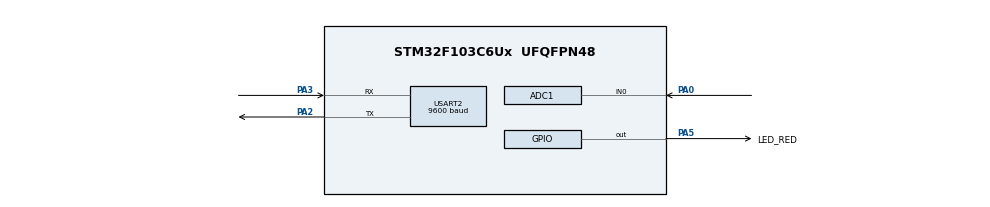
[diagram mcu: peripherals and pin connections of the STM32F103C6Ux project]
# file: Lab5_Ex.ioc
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ADC1.Channel-0\#ChannelRegularConversion=ADC_CHANNEL_0
ADC1.ContinuousConvMode=ENABLE
ADC1.NbrOfConversionFlag=1
ADC1.Rank-0\#ChannelRegularConversion=1
ADC1.SamplingTime-0\#ChannelRegularConversion=ADC_SAMPLETIME_1CYCLE_5
ADC1.master=1
Mcu.Family=STM32F1
Mcu.Name=STM32F103C6Ux
Mcu.Package=UFQFPN48
NVIC.PriorityGroup=NVIC_PRIORITYGROUP_4
NVIC.TIM2_IRQn=true\:0\:0\:false\:false\:true\:true\:true
NVIC.USART2_IRQn=true\:0\:0\:false\:false\:true\:true\:true
PA0-WKUP.Signal=ADCx_IN0
PA2.Mode=Asynchronous
PA2.Signal=USART2_TX
PA3.Mode=Asynchronous
PA3.Signal=USART2_RX
PA5.GPIO_Label=LED_RED
PA5.Signal=GPIO_Output
ProjectManager.HeapSize=0x200
ProjectManager.StackSize=0x400
ProjectManager.TargetToolchain=STM32CubeIDE
RCC.APB1Freq_Value=8000000
RCC.APB2Freq_Value=8000000
SH.ADCx_IN0.0=ADC1_IN0,IN0
TIM2.Period=9
TIM2.Prescaler=7999
USART2.BaudRate=9600
USART2.VirtualMode=VM_ASYNC
VP_SYS_VS_ND.Mode=No_Debug
VP_TIM2_VS_ClockSourceINT.Mode=Internal
board=custom

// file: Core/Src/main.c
/* USER CODE BEGIN Header */
/**
  ******************************************************************************
  * @file           : main.c
  * @brief          : Main program body
  ******************************************************************************
  * @attention
  *
  * <h2><center>&copy; Copyright (c) 2023 STMicroelectronics.
  * All rights reserved.</center></h2>
  *
  * This software component is licensed by ST under BSD 3-Clause license,
  * the "License"; You may not use this file except in compliance with the
  * License. You may obtain a copy of the License at:
  *                        opensource.org/licenses/BSD-3-Clause
  *
  ******************************************************************************
  */
/* USER CODE END Header */
#include "main.h"

/* USER CODE BEGIN Includes */
#include "software_timer.h"
#include "scheduler.h"
/* USER CODE END Includes */

ADC_HandleTypeDef hadc1;

TIM_HandleTypeDef htim2;

UART_HandleTypeDef huart2;

void SystemClock_Config(void);
static void MX_TIM2_Init(void);
static void MX_GPIO_Init(void);
static void MX_USART2_UART_Init(void);
static void MX_ADC1_Init(void);

/* USER CODE BEGIN 0 */
void toggleLed(){
	  	 HAL_GPIO_TogglePin(LED_RED_GPIO_Port, LED_RED_Pin);
 }

//ISR for UART
#define MAX_BUFFER_SIZE 30
uint8_t temp = 0;
uint8_t buffer[MAX_BUFFER_SIZE];
uint8_t index_buffer = 0;
uint8_t buffer_flag = 0;

void HAL_UART_RxCpltCallback(UART_HandleTypeDef *huart) {
    if (huart->Instance == USART2) {
//        HAL_UART_Transmit(&huart2, &temp, 1, 50);
        buffer[index_buffer++] = temp;
        if (index_buffer == MAX_BUFFER_SIZE) {
            index_buffer = 0;
        }
        buffer_flag = 1;
        HAL_UART_Receive_IT(&huart2, &temp, 1);
    }
}

//FSM for command parser
#define PARSER_BEGIN 0
#define PARSER_PARSING 1
uint8_t command_parser_state = PARSER_BEGIN;
uint8_t command_data[MAX_BUFFER_SIZE];
uint8_t index_parser = 0;
uint8_t command_flag = 0;

void command_parser_fsm(){
	uint8_t index_reading = index_buffer - 1;
	if(index_reading < 0) index_reading = MAX_BUFFER_SIZE - 1;

	switch (command_parser_state) {
	//CASE wait for '!'
		case PARSER_BEGIN:
			if(buffer[index_reading] == '!'){
				command_parser_state = PARSER_PARSING;
			}
			break;
    //Case parsing the command
		case PARSER_PARSING:
			if(buffer[index_reading] == '!'){
                memset(command_data, '\0', MAX_BUFFER_SIZE);
                index_parser = 0;
				return;
			}
			if(buffer[index_reading] == '#'){
				command_parser_state = PARSER_BEGIN;
				command_flag = 1;
				index_parser = 0;
				command_parser_state = PARSER_BEGIN;
				//TODO clear command_data[MAX_BUFFER_SIZE]
				index_parser = 0;
                HAL_UART_Transmit(&huart2, command_data, sizeof(command_data), 1000);
//				HAL_GPIO_TogglePin(LED_RED_GPIO_Port, LED_RED_Pin);
			}
			else {
				command_data[index_parser++] = buffer[index_reading];
				//TODO Handle buffer overflow case
			}
	}
}

//FSM for uart communication
#define RST_STATE 0
#define OK_STATE 1
#include "software_timer.h"
uint32_t ADC_value = 0;
uint8_t uart_communication_state = RST_STATE;
char previous_packet[MAX_BUFFER_SIZE];

void ADC_read(){
    // Ensure ADC is properly started and polled for conversion
    HAL_ADC_Start(&hadc1);
    HAL_ADC_PollForConversion(&hadc1, 1000);
    // Get the ADC value
    ADC_value = HAL_ADC_GetValue(&hadc1);
    // Convert the ADC value to a string and send it over UART
    sprintf(previous_packet, "!%lu#\r\n", ADC_value);
}

void uart_communication_fsm(){
    switch (uart_communication_state) {
    	//Waiting for RST STATE
        case RST_STATE:
        	//Check command_flag
            if(command_flag){
                command_flag = 0;
                //TODO command_flag for RST_STATE
                if(!strcmp((char*)command_data, "RST")){
                    uart_communication_state = OK_STATE;
                    ADC_read();
                    HAL_UART_Transmit(&huart2, (uint8_t*)previous_packet, strlen(previous_packet), 1000);
                    setTimer(3000, 0);
                }
                //Reset the command_data after read
                memset(command_data, '\0', MAX_BUFFER_SIZE);
            }
            break;
		//Waiting for OK STATE
        case OK_STATE:
        	//Check timer_flag
            if(timer_flag[0]){
                setTimer(3000, 0);
                //TODO timer_flag of OK STATE
                HAL_UART_Transmit(&huart2, (uint8_t*)previous_packet, strlen(previous_packet), 1000);
            }
        	//Check command_flag
            if(command_flag){
                command_flag = 0;
                //TODO command_flag for OK_STATE
                if(!strcmp((char*)command_data, "OK")){
                    uart_communication_state = RST_STATE;
                }
                // Consider if this transmission is necessary
                memset(command_data, '\0', MAX_BUFFER_SIZE);
            }
            break;
    }
}
void check_command_parser(){
  if(buffer_flag){
	  command_parser_fsm();
	  buffer_flag = 0;
  }
  uart_communication_fsm();
}

/* USER CODE END 0 */

int main(void)
{

  /* MCU Configuration--------------------------------------------------------*/

  /* Reset of all peripherals, Initializes the Flash interface and the Systick. */
  HAL_Init();

  /* Configure the system clock */
  SystemClock_Config();

  /* Initialize all configured peripherals */
  MX_TIM2_Init();
  MX_GPIO_Init();
  MX_USART2_UART_Init();
  MX_ADC1_Init();
  /* USER CODE BEGIN 2 */
  HAL_TIM_Base_Start_IT(&htim2);
  /* USER CODE END 2 */
  HAL_TIM_Base_Start_IT(&htim2 );
  HAL_UART_Receive_IT(&huart2 , &temp , 1);
  /* Infinite loop */
  /* USER CODE BEGIN WHILE */
  SCH_Add_Task(toggleLed, 100, 100);
  SCH_Add_Task(check_command_parser, 100, 1);
  SCH_Add_Task(timerRun, 100, 1);
  while (1)
  {
	  SCH_Dispatch_Tasks();
    /* USER CODE END WHILE */

  }
}

void SystemClock_Config(void)
{
  RCC_OscInitTypeDef RCC_OscInitStruct = {0};
  RCC_ClkInitTypeDef RCC_ClkInitStruct = {0};
  RCC_PeriphCLKInitTypeDef PeriphClkInit = {0};

  /** Initializes the RCC Oscillators according to the specified parameters
  * in the RCC_OscInitTypeDef structure.
  */
  RCC_OscInitStruct.OscillatorType = RCC_OSCILLATORTYPE_HSI;
  RCC_OscInitStruct.HSIState = RCC_HSI_ON;
  RCC_OscInitStruct.HSICalibrationValue = RCC_HSICALIBRATION_DEFAULT;
  RCC_OscInitStruct.PLL.PLLState = RCC_PLL_NONE;
  if (HAL_RCC_OscConfig(&RCC_OscInitStruct) != HAL_OK)
  {
    Error_Handler();
  }
  /** Initializes the CPU, AHB and APB buses clocks
  */
  RCC_ClkInitStruct.ClockType = RCC_CLOCKTYPE_HCLK|RCC_CLOCKTYPE_SYSCLK
                              |RCC_CLOCKTYPE_PCLK1|RCC_CLOCKTYPE_PCLK2;
  RCC_ClkInitStruct.SYSCLKSource = RCC_SYSCLKSOURCE_HSI;
  RCC_ClkInitStruct.AHBCLKDivider = RCC_SYSCLK_DIV1;
  RCC_ClkInitStruct.APB1CLKDivider = RCC_HCLK_DIV1;
  RCC_ClkInitStruct.APB2CLKDivider = RCC_HCLK_DIV1;

  if (HAL_RCC_ClockConfig(&RCC_ClkInitStruct, FLASH_LATENCY_0) != HAL_OK)
  {
    Error_Handler();
  }
  PeriphClkInit.PeriphClockSelection = RCC_PERIPHCLK_ADC;
  PeriphClkInit.AdcClockSelection = RCC_ADCPCLK2_DIV2;
  if (HAL_RCCEx_PeriphCLKConfig(&PeriphClkInit) != HAL_OK)
  {
    Error_Handler();
  }
}

static void MX_ADC1_Init(void)
{

  ADC_ChannelConfTypeDef sConfig = {0};

  /** Common config
  */
  hadc1.Instance = ADC1;
  hadc1.Init.ScanConvMode = ADC_SCAN_DISABLE;
  hadc1.Init.ContinuousConvMode = ENABLE;
  hadc1.Init.DiscontinuousConvMode = DISABLE;
  hadc1.Init.ExternalTrigConv = ADC_SOFTWARE_START;
  hadc1.Init.DataAlign = ADC_DATAALIGN_RIGHT;
  hadc1.Init.NbrOfConversion = 1;
  if (HAL_ADC_Init(&hadc1) != HAL_OK)
  {
    Error_Handler();
  }
  /** Configure Regular Channel
  */
  sConfig.Channel = ADC_CHANNEL_0;
  sConfig.Rank = ADC_REGULAR_RANK_1;
  sConfig.SamplingTime = ADC_SAMPLETIME_1CYCLE_5;
  if (HAL_ADC_ConfigChannel(&hadc1, &sConfig) != HAL_OK)
  {
    Error_Handler();
  }

}

static void MX_TIM2_Init(void)
{

  TIM_ClockConfigTypeDef sClockSourceConfig = {0};
  TIM_MasterConfigTypeDef sMasterConfig = {0};

  htim2.Instance = TIM2;
  htim2.Init.Prescaler = 7999;
  htim2.Init.CounterMode = TIM_COUNTERMODE_UP;
  htim2.Init.Period = 9;
  htim2.Init.ClockDivision = TIM_CLOCKDIVISION_DIV1;
  htim2.Init.AutoReloadPreload = TIM_AUTORELOAD_PRELOAD_DISABLE;
  if (HAL_TIM_Base_Init(&htim2) != HAL_OK)
  {
    Error_Handler();
  }
  sClockSourceConfig.ClockSource = TIM_CLOCKSOURCE_INTERNAL;
  if (HAL_TIM_ConfigClockSource(&htim2, &sClockSourceConfig) != HAL_OK)
  {
    Error_Handler();
  }
  sMasterConfig.MasterOutputTrigger = TIM_TRGO_RESET;
  sMasterConfig.MasterSlaveMode = TIM_MASTERSLAVEMODE_DISABLE;
  if (HAL_TIMEx_MasterConfigSynchronization(&htim2, &sMasterConfig) != HAL_OK)
  {
    Error_Handler();
  }

}

static void MX_USART2_UART_Init(void)
{

  huart2.Instance = USART2;
  huart2.Init.BaudRate = 9600;
  huart2.Init.WordLength = UART_WORDLENGTH_8B;
  huart2.Init.StopBits = UART_STOPBITS_1;
  huart2.Init.Parity = UART_PARITY_NONE;
  huart2.Init.Mode = UART_MODE_TX_RX;
  huart2.Init.HwFlowCtl = UART_HWCONTROL_NONE;
  huart2.Init.OverSampling = UART_OVERSAMPLING_16;
  if (HAL_UART_Init(&huart2) != HAL_OK)
  {
    Error_Handler();
  }

}

static void MX_GPIO_Init(void)
{
  GPIO_InitTypeDef GPIO_InitStruct = {0};

  /* GPIO Ports Clock Enable */
  __HAL_RCC_GPIOA_CLK_ENABLE();

  /*Configure GPIO pin Output Level */
  HAL_GPIO_WritePin(LED_RED_GPIO_Port, LED_RED_Pin, GPIO_PIN_RESET);

  /*Configure GPIO pin : LED_RED_Pin */
  GPIO_InitStruct.Pin = LED_RED_Pin;
  GPIO_InitStruct.Mode = GPIO_MODE_OUTPUT_PP;
  GPIO_InitStruct.Pull = GPIO_NOPULL;
  GPIO_InitStruct.Speed = GPIO_SPEED_FREQ_LOW;
  HAL_GPIO_Init(LED_RED_GPIO_Port, &GPIO_InitStruct);

}

/* USER CODE BEGIN 4 */
void HAL_TIM_PeriodElapsedCallback(TIM_HandleTypeDef *htim){
	if (htim -> Instance == TIM2)
	{
		SCH_Update();
	}
}
/* USER CODE END 4 */

void Error_Handler(void)
{
  __disable_irq();
  while (1)
  {
  }
}

/************************ (C) COPYRIGHT STMicroelectronics *****END OF FILE****/
